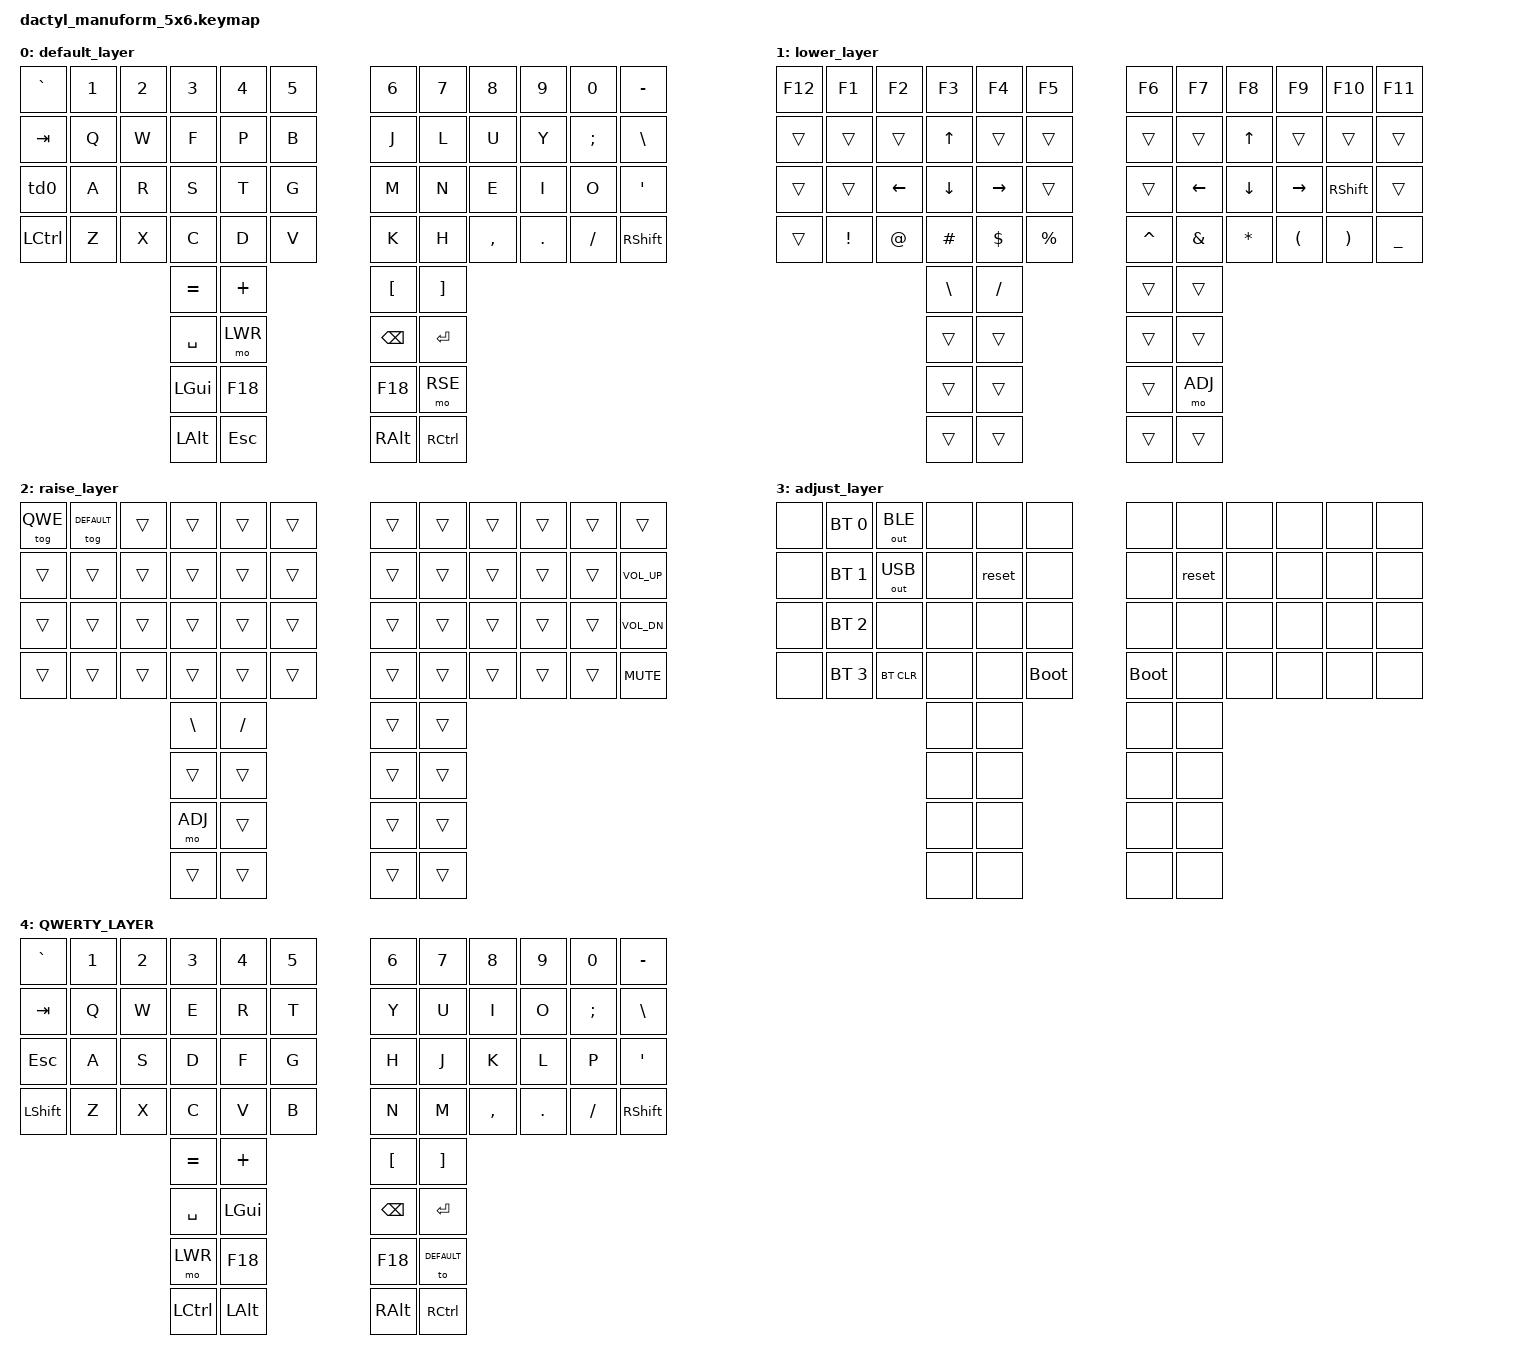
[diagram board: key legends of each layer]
#include <behaviors.dtsi>
#include <dt-bindings/zmk/keys.h>
#include <dt-bindings/zmk/bt.h>
#include <dt-bindings/zmk/outputs.h>

#define DEFAULT 0
#define LWR 1
#define RSE 2
#define ADJ 3
#define QWE 4


/ {


behaviors {
        td0: tap_dance_0 {
            compatible = "zmk,behavior-tap-dance";
            label = "TAP_DANCE_0";
            #binding-cells = <0>;
            tapping-term-ms = <200>;
            bindings = <&kp LSHIFT>, <&kp CAPS>;
        };
       };
    keymap {
        compatible = "zmk,keymap";

                default_layer {
                
            bindings = <
                &kp GRAVE  &kp N1  &kp N2  &kp N3  &kp N4  &kp N5              &kp N6  &kp N7  &kp N8     &kp N9  &kp N0    &kp MINUS
                &kp TAB    &kp Q   &kp W   &kp F   &kp P   &kp B               &kp J   &kp L   &kp U      &kp Y   &kp SEMI  &kp BSLH
                &td0       &kp A   &kp R   &kp S   &kp T   &kp G               &kp M   &kp N   &kp E      &kp I   &kp O     &kp SQT
                &kp LCTRL  &kp Z   &kp X   &kp C   &kp D   &kp V               &kp K   &kp H   &kp COMMA  &kp DOT &kp FSLH  &kp RSHIFT
                                            &kp EQUAL  &kp PLUS                &kp LBKT  &kp RBKT
                                            &kp SPACE  &mo LWR                &kp BSPC  &kp RET
                                            &kp LGUI   &kp F18                 &kp F18   &mo RSE
                                            &kp LALT   &kp ESC                &kp RALT  &kp RCTRL
            >;
        }; 

        lower_layer {
            bindings = <
                &kp F12 &kp F1 &kp F2   &kp F3   &kp F4    &kp F5                &kp F6 &kp F7   &kp F8     &kp F9    &kp F10     &kp F11
                &trans  &trans &trans   &kp UP   &trans    &trans                &trans &trans   &kp UP     &trans    &trans      &trans
                &trans  &trans &kp LEFT &kp DOWN &kp RIGHT &trans                &trans &kp LEFT &kp DOWN   &kp RIGHT &kp RSHIFT  &trans
                &trans  &kp EXCL &kp AT &kp POUND &kp DOLLAR   &kp PERCENT      &kp CARET &kp AMPS &kp STAR &kp LPAR    &kp RPAR &kp UNDER
                               &kp BSLH &kp FSLH                                                 &trans     &trans
                                                 &trans    &trans               &trans &trans
                                                 &trans    &trans               &trans &mo ADJ
                                                 &trans    &trans               &trans &trans
            >;
        };

        raise_layer {
            bindings = <
                &tog QWE  &tog DEFAULT &trans &trans &trans   &trans                &trans &trans &trans &trans &trans &trans
                &trans  &trans &trans &trans &trans   &trans                &trans &trans &trans &trans &trans &kp K_VOL_UP
                &trans  &trans &trans &trans &trans   &trans                &trans &trans &trans &trans &trans &kp K_VOL_DN
                &trans  &trans &trans &trans &trans   &trans                &trans &trans &trans &trans &trans &kp K_MUTE
                                             &kp BSLH &kp FSLH              &trans &trans
                                             &trans   &trans                &trans &trans
                                             &mo ADJ  &trans                &trans &trans
                                             &trans   &trans                &trans &trans
            >;
        };

        adjust_layer {
            bindings = <
                &none &bt BT_SEL 0 &out OUT_BLE &none &none  &none            &none       &none  &none &none &none &none
                &none &bt BT_SEL 1 &out OUT_USB &none &reset &none            &none       &reset &none &none &none &none
                &none &bt BT_SEL 2 &none        &none &none  &none            &none       &none  &none &none &none &none
                &none &bt BT_SEL 3 &bt BT_CLR   &none &none  &bootloader      &bootloader &none  &none &none &none &none
                                   &none        &none                                            &none &none
                                                      &none &none             &none &none
                                                      &none &none             &none &none
                                                      &none &none             &none &none
            >;
        };
        QWERTY_LAYER {
            bindings = <
                &kp GRAVE  &kp N1  &kp N2  &kp N3  &kp N4  &kp N5              &kp N6  &kp N7  &kp N8     &kp N9  &kp N0    &kp MINUS
                &kp TAB    &kp Q   &kp W   &kp E   &kp R   &kp T               &kp Y   &kp U   &kp I      &kp O   &kp SEMI  &kp BSLH
                &kp ESC    &kp A   &kp S   &kp D   &kp F   &kp G               &kp H   &kp J   &kp K      &kp L   &kp P  &kp SQT
                &kp LSHIFT &kp Z   &kp X   &kp C   &kp V   &kp B               &kp N   &kp M   &kp COMMA  &kp DOT &kp FSLH  &kp RSHIFT
                                            &kp EQUAL  &kp PLUS                &kp LBKT  &kp RBKT
                                            &kp SPACE   &kp LGUI               &kp BSPC  &kp RET   
                                            &mo LWR    &kp F18                 &kp F18   &to DEFAULT
                                            &kp LCTRL  &kp LALT                &kp RALT  &kp RCTRL
            >;
        };
    };
};
